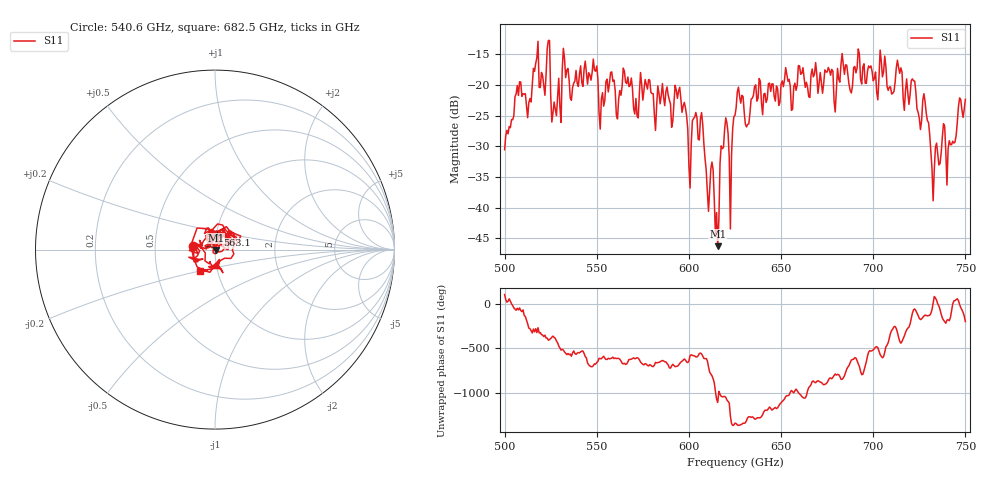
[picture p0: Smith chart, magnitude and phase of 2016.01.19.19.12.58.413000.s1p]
!Created with skrf (http://scikit-rf.org).
# GHz S RI R 50.0
!freq ReS11 ImS11
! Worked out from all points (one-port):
!   401 points, 500 GHz to 750 GHz, reference 50 ohm
!   lowest |S11| = -46.3 dB at 615.6 GHz (marker M1), VSWR 1.01, Z = 50.4 - j0.209 ohm
!   |S11| at or under -10 dB: start of sweep to end of sweep
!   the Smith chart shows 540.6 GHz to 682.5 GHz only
!   S11 on the Smith chart (normalised r, x): 540.6 GHz: 0.78, +0.03; 563.1 GHz: 1.01, +0.17; 682.5 GHz: 0.82, -0.20
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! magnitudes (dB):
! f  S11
! 500 GHz  -30.6
! 507.5 GHz  -21.7
! 513.1 GHz  -22.9
! 516.9 GHz  -16.5
! 520.6 GHz  -18.5
! 523.8 GHz  -12.8
! 526.9 GHz  -22.8
! 531.2 GHz  -17.6
! 540.6 GHz  -18.2
! 562.5 GHz  -20.9
! 563.1 GHz  -21.7
! 571.2 GHz  -22.2
! 593.8 GHz  -22.2
! 600 GHz  -33.3
! 606.9 GHz  -24.5
! 610 GHz  -37.4
! 615.6 GHz  -46.3
! 618.8 GHz  -30.2
! 622.5 GHz  -43.5
! 625 GHz  -24.9
! 656.2 GHz  -23.9
! 682.5 GHz  -16.7
! 687.5 GHz  -20.9
! 705 GHz  -18.7
! 718.8 GHz  -21.3
! 728.1 GHz  -22.7
! 732.5 GHz  -38.9
! 750 GHz  -22.3
